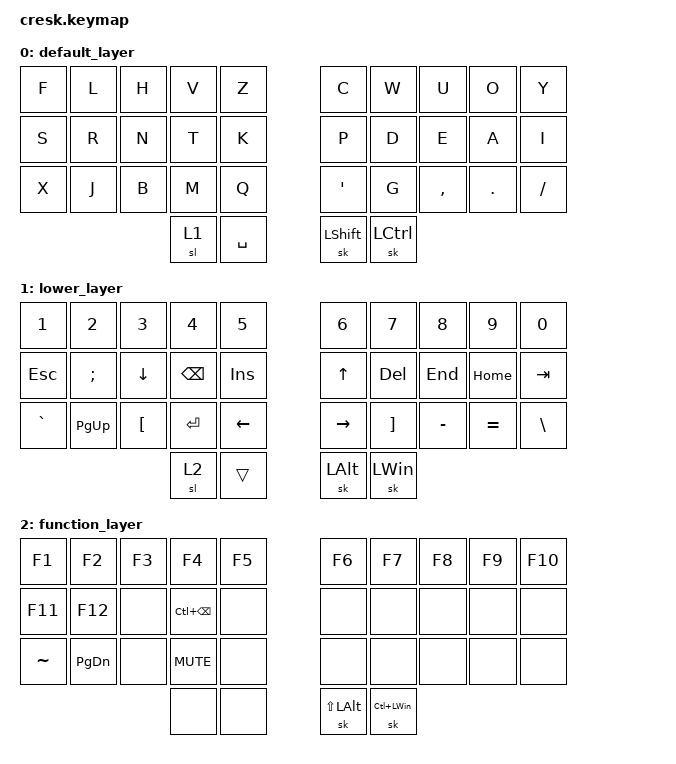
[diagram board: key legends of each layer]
/*
 * Copyright (c) 2022 The ZMK Contributors
 *
 * SPDX-License-Identifier: MIT
 */

#include <behaviors.dtsi>
#include <dt-bindings/zmk/keys.h>

&sk {
    release-after-ms = <200>;
    quick-release;
};

&sl {
    release-after-ms = <200>;
};

/ {
    keymap {
        compatible = "zmk,keymap";

        default_layer {
            bindings = <
&kp F &kp L &kp H &kp V &kp Z &kp C &kp W &kp U &kp O &kp Y
&kp S &kp R &kp N &kp T &kp K &kp P &kp D &kp E &kp A &kp I
&kp X &kp J &kp B &kp M &kp Q &kp SQT &kp G &kp COMMA &kp DOT &kp FSLH
&sl 1 &kp SPACE &sk LSHIFT &sk LCTRL
            >;
        }
;
        lower_layer {
            bindings = <
&kp N1       &kp N2    &kp N3    &kp N4       &kp N5   &kp N6    &kp N7   &kp N8    &kp N9    &kp N0
&kp ESC      &kp SEMI   &kp DOWN  &kp BSPC     &kp INS &kp UP &kp DEL  &kp END   &kp HOME  &kp TAB
&kp GRAVE    &kp PG_UP &kp LBKT  &kp RET      &kp LEFT  &kp RIGHT    &kp RBKT &kp MINUS &kp EQUAL &kp BSLH
&sl 2      &trans &sk LALT &sk LWIN
            >;
        };

        function_layer {
            bindings = <
&kp F1       &kp F2    &kp F3    &kp F4       &kp F5   &kp F6    &kp F7   &kp F8    &kp F9    &kp F10
&kp F11      &kp F12    &none   &kp LC(BSPC) &none    &none     &none    &none     &none     &none
&kp TILDE    &kp PG_DN &none     &kp C_MUTE   &none    &none     &none    &none     &none     &none
&none     &none     &sk LS(LALT) &sk LC(LWIN)
            >;
        };
    };
};
